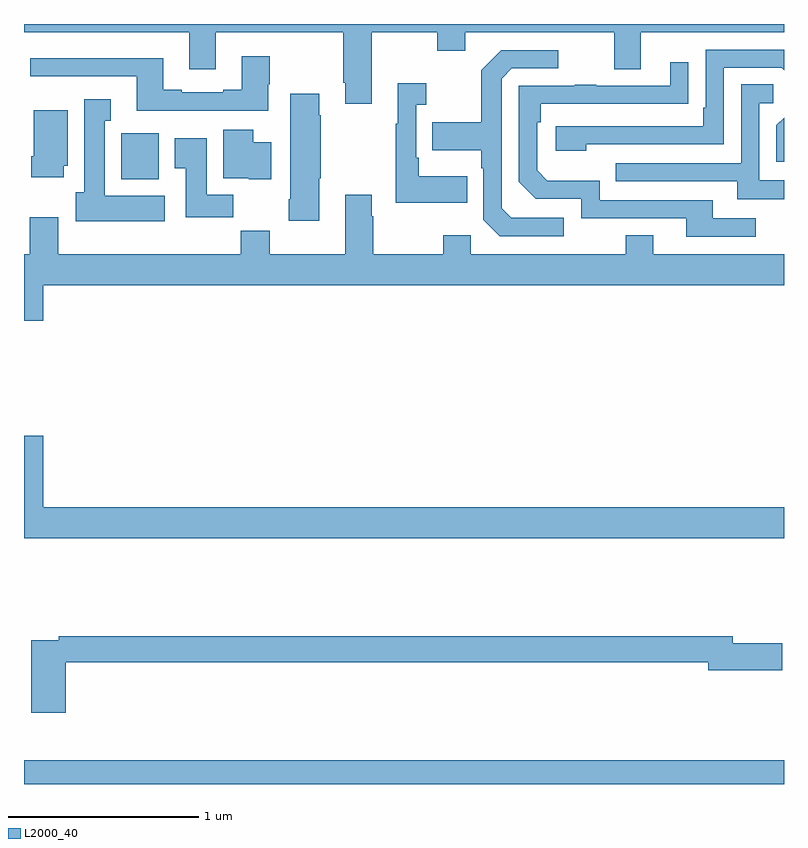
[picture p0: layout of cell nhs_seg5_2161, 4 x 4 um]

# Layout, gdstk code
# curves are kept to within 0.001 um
import gdstk
lib = gdstk.Library(unit=1e-6, precision=1e-09)
def R(c, l, rs):  # rectangles x0, y0, x1, y1
    for r in rs: c.add(gdstk.rectangle(r[:2], r[2:], *l))
def P(c, l, *ps):  # polygons
    for p in ps: c.add(gdstk.Polygon(p, *l))
L2000_40 = (2000, 40)

nhs_seg5_2161 = lib.new_cell('nhs_seg5_2161')
R(nhs_seg5_2161, L2000_40, [(237,856.799,241,856.924), (237.512,859.982,237.709,860.224)])
P(nhs_seg5_2161, L2000_40, [(238.831,860.756),(239.176,860.756),(239.176,860.657),(239.323,860.657),(239.323,860.756),(240.107,860.756),(240.107,860.562),(240.247,860.562),(240.247,860.756),(241,860.756),(241,860.799),(237,860.799),(237,860.756),(237.869,860.756),(237.869,860.562),(238.009,860.562),(238.009,860.756),(238.679,860.756),(238.679,860.491),(238.691,860.491),(238.691,860.379),(238.831,860.379)],
  [(239.96,860.166),(240.684,860.166),(240.684,860.568),(240.987,860.568),(241,860.555),(241,860.664),(240.588,860.664),(240.588,860.359),(240.575,860.359),(240.575,860.262),(239.799,860.262),(239.799,860.132),(239.96,860.132)],
  [(239.842,859.779),(239.565,859.779),(239.514,859.83),(239.514,860.511),(239.568,860.565),(239.812,860.565),(239.812,860.661),(239.511,860.661),(239.406,860.555),(239.406,860.283),(239.149,860.283),(239.149,860.135),(239.406,860.135),(239.406,860.039),(239.418,860.039),(239.418,859.77),(239.505,859.683),(239.842,859.683)],
  [(237.953,860.343),(238.285,860.343),(238.285,860.481),(238.293,860.481),(238.293,860.629),(238.145,860.629),(238.145,860.452),(238.049,860.452),(238.049,860.439),(237.829,860.439),(237.829,860.452),(237.733,860.452),(237.733,860.62),(237.033,860.62),(237.033,860.523),(237.593,860.523),(237.593,860.342),(237.953,860.342)],
  [(240.85,859.776),(240.625,859.776),(240.625,859.872),(240.03,859.872),(240.03,859.975),(239.753,859.975),(239.7,860.028),(239.7,860.282),(239.72,860.282),(239.72,860.379),(240.497,860.38),(240.497,860.599),(240.401,860.599),(240.401,860.475),(240.011,860.475),(240.011,860.48),(239.899,860.48),(239.899,860.475),(239.604,860.475),(239.604,859.968),(239.694,859.878),(239.934,859.878),(239.934,859.776),(240.485,859.776),(240.485,859.68),(240.85,859.68)],
  [(239.333,859.999),(239.077,859.999),(239.077,860.095),(239.064,860.095),(239.064,860.375),(239.116,860.375),(239.116,860.488),(238.967,860.488),(238.967,860.275),(238.956,860.275),(238.956,859.859),(239.333,859.859)],
  [(241,859.977),(240.87,859.977),(240.87,860.382),(240.943,860.382),(240.943,860.483),(240.774,860.483),(240.774,860.067),(240.115,860.067),(240.115,859.971),(240.755,859.971),(240.755,859.877),(241,859.877)],
  [(238.555,859.987),(238.563,859.987),(238.563,860.318),(238.555,860.318),(238.555,860.431),(238.4,860.431),(238.4,859.876),(238.393,859.876),(238.393,859.764),(238.555,859.764)],
  [(237.742,859.894),(237.424,859.894),(237.424,860.291),(237.457,860.291),(237.457,860.404),(237.317,860.404),(237.317,859.914),(237.272,859.914),(237.272,859.76),(237.742,859.76)],
  [(237.208,860.052),(237.229,860.052),(237.229,860.344),(237.05,860.344),(237.05,860.104),(237.038,860.104),(237.038,859.992),(237.208,859.992)],
  [(241,860.306),(240.96,860.266),(240.96,860.073),(241,860.073)],
  [(238.3,860.176),(238.207,860.176),(238.207,860.242),(238.049,860.242),(238.049,859.988),(238.182,859.988),(238.182,859.982),(238.3,859.982)],
  [(238.1,859.9),(237.961,859.9),(237.961,860.197),(237.794,860.197),(237.794,860.041),(237.851,860.041),(237.851,859.782),(238.1,859.782)],
  [(241,859.588),(240.313,859.588),(240.313,859.687),(240.166,859.687),(240.166,859.588),(239.352,859.588),(239.352,859.687),(239.206,859.687),(239.206,859.588),(238.839,859.588),(238.839,859.787),(238.831,859.787),(238.831,859.9),(238.691,859.9),(238.691,859.588),(238.293,859.588),(238.293,859.712),(238.141,859.712),(238.141,859.588),(237.181,859.588),(237.181,859.783),(237.029,859.783),(237.029,859.588),(237,859.588),(237,859.236),(237.1,859.236),(237.1,859.424),(241,859.424)],
  [(241,858.256),(237.1,858.256),(237.1,858.631),(237,858.631),(237,858.092),(241,858.092)],
  [(237.221,857.44),(240.602,857.44),(240.602,857.398),(240.991,857.398),(240.991,857.54),(240.73,857.54),(240.73,857.576),(237.184,857.576),(237.184,857.556),(237.038,857.556),(237.038,857.175),(237.221,857.175)])

lib.write_gds('nhs_seg5_2161.gds')
